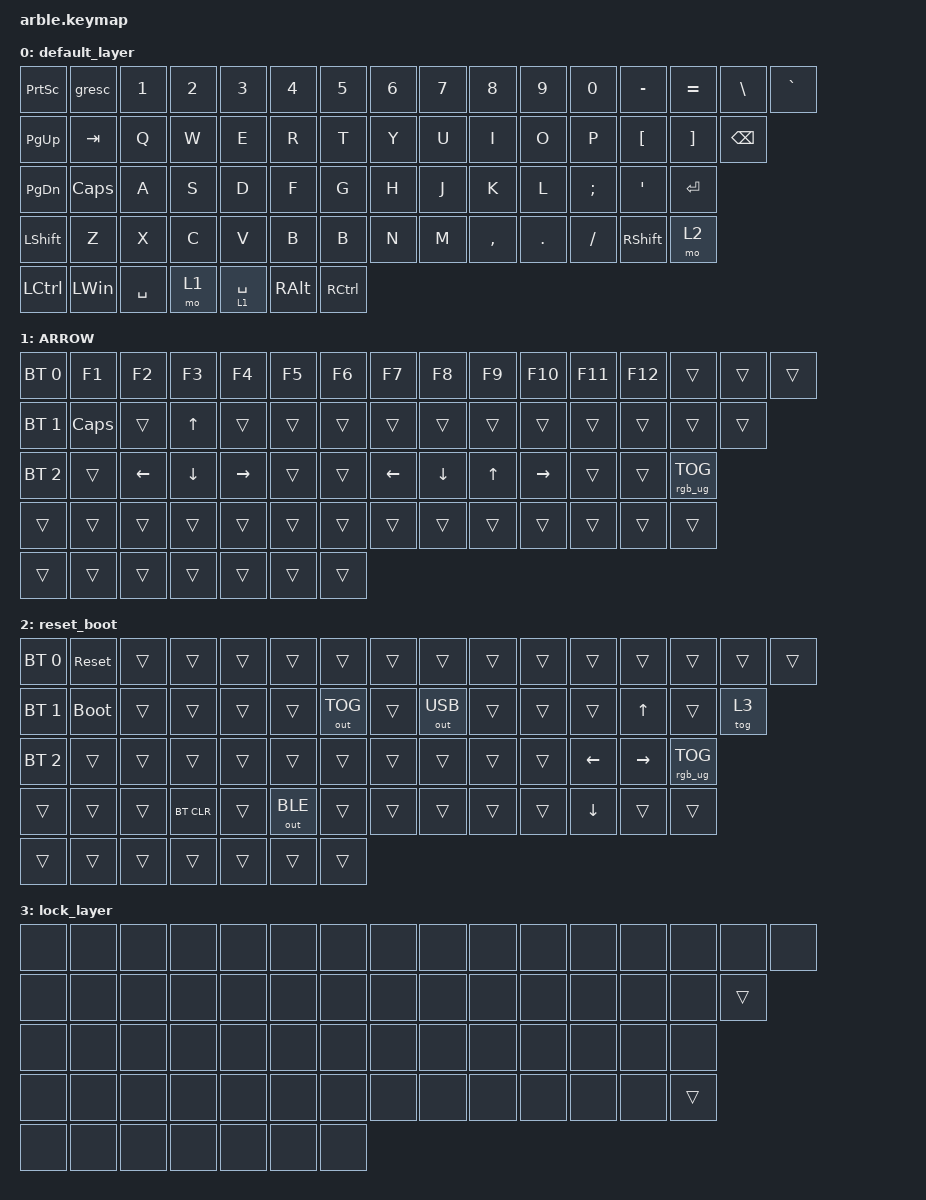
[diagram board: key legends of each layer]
/*
 * Copyright (c) 2021 Nick Winans
 *
 * SPDX-License-Identifier: MIT
 */

#include <behaviors.dtsi>
#include <dt-bindings/zmk/keys.h>
#include <dt-bindings/zmk/bt.h>
#include <dt-bindings/zmk/rgb.h>
#include <dt-bindings/zmk/outputs.h>

/ {
    keymap {
        compatible = "zmk,keymap";

        default_layer {
            bindings = <
&kp PRINTSCREEN        &gresc     &kp N1  &kp N2       &kp N3    &kp N4     &kp N5  &kp N6  &kp N7     &kp N8   &kp N9    &kp N0  &kp MINUS  &kp EQUAL  &kp BSLH  &kp GRAVE
    &kp PAGE_UP       &kp TAB      &kp Q   &kp W        &kp E     &kp R      &kp T   &kp Y   &kp U      &kp I    &kp O     &kp P   &kp LBKT   &kp RBKT  &kp BSPC
      &kp PG_DN      &kp CAPS      &kp A   &kp S        &kp D     &kp F      &kp G   &kp H   &kp J      &kp K    &kp L  &kp SEMI    &kp SQT    &kp RET
      &kp LSHFT         &kp Z      &kp X   &kp C        &kp V     &kp B      &kp B   &kp N   &kp M  &kp COMMA  &kp DOT  &kp FSLH  &kp RSHFT      &mo 2
      &kp LCTRL  &kp LEFT_WIN  &kp SPACE   &mo 1  &lt 1 SPACE  &kp RALT  &kp RCTRL
            >;
        };

        ARROW {
            bindings = <
&bt BT_SEL 0    &kp F1    &kp F2    &kp F3     &kp F4  &kp F5  &kp F6    &kp F7    &kp F8  &kp F9    &kp F10  &kp F11  &kp F12           &trans  &trans  &trans
&bt BT_SEL 1  &kp CAPS    &trans    &kp UP     &trans  &trans  &trans    &trans    &trans  &trans     &trans   &trans   &trans           &trans  &trans
&bt BT_SEL 2    &trans  &kp LEFT  &kp DOWN  &kp RIGHT  &trans  &trans  &kp LEFT  &kp DOWN  &kp UP  &kp RIGHT   &trans   &trans  &rgb_ug RGB_TOG
      &trans    &trans    &trans    &trans     &trans  &trans  &trans    &trans    &trans  &trans     &trans   &trans   &trans           &trans
      &trans    &trans    &trans    &trans     &trans  &trans  &trans
            >;
        };

        reset_boot {
            bindings = <
&bt BT_SEL 0   &sys_reset  &trans      &trans  &trans        &trans        &trans  &trans        &trans  &trans  &trans    &trans     &trans           &trans  &trans  &trans
&bt BT_SEL 1  &bootloader  &trans      &trans  &trans        &trans  &out OUT_TOG  &trans  &out OUT_USB  &trans  &trans    &trans     &kp UP           &trans  &tog 3
&bt BT_SEL 2       &trans  &trans      &trans  &trans        &trans        &trans  &trans        &trans  &trans  &trans  &kp LEFT  &kp RIGHT  &rgb_ug RGB_TOG
      &trans       &trans  &trans  &bt BT_CLR  &trans  &out OUT_BLE        &trans  &trans        &trans  &trans  &trans  &kp DOWN     &trans           &trans
      &trans       &trans  &trans      &trans  &trans        &trans        &trans
            >;
        };

        lock_layer {
            bindings = <
&none  &none  &none  &none  &none  &none  &none  &none  &none  &none  &none  &none  &none   &none   &none  &none
&none  &none  &none  &none  &none  &none  &none  &none  &none  &none  &none  &none  &none   &none  &trans
&none  &none  &none  &none  &none  &none  &none  &none  &none  &none  &none  &none  &none   &none
&none  &none  &none  &none  &none  &none  &none  &none  &none  &none  &none  &none  &none  &trans
&none  &none  &none  &none  &none  &none  &none
            >;
        };
    };
};
